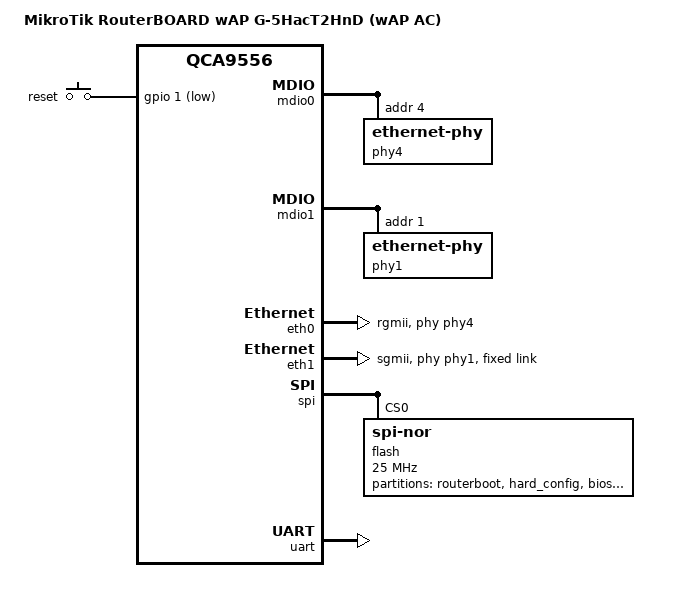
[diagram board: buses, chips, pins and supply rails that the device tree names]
// SPDX-License-Identifier: GPL-2.0-or-later OR MIT
/dts-v1/;

#include <dt-bindings/gpio/gpio.h>
#include <dt-bindings/input/input.h>

#include "qca9557.dtsi"

/ {
	compatible = "mikrotik,rb-wapg-5hact2hnd", "qca,qca9556";
	model = "MikroTik RouterBOARD wAP G-5HacT2HnD (wAP AC)";

	aliases {
		serial0 = &uart;
	};

	chosen {
		bootargs = "console=ttyS0,115200n8";
	};

	leds {
		compatible = "gpio-leds";
		pinctrl-names = "default";
	};

	keys {
		compatible = "gpio-keys";

		reset {
			label = "reset";
			linux,code = <KEY_RESTART>;
			gpios = <&gpio 1 GPIO_ACTIVE_LOW>;
			debounce-interval = <60>;
		};
	};
};





&mdio0 {
	status = "okay";

	phy4: ethernet-phy@4 {
		reg = <4>;
		phy-mode = "rgmii-id";
	};
};

&mdio1 {
	status = "okay";

	phy1: ethernet-phy@1 {
		reg = <1>;
		phy-mode = "sgmii";
	};
};

&eth0 {
	status = "okay";

	phy-handle = <&phy4>;
	phy-mode = "rgmii";
};

&eth1 {
	status = "okay";

	pll-data = <0x03000101 0x80000101 0x80001313>;

	phy-handle = <&phy1>;
	phy-mode = "sgmii";
	
	fixed-link {
		speed = <1000>;
		full-duplex;
	};
};








&spi {
	status = "okay";
	num-cs = <1>;

	flash@0 {
		compatible = "jedec,spi-nor";
		reg = <0>;
		spi-max-frequency = <25000000>;

		partitions {
			compatible = "fixed-partitions";
			#address-cells = <1>;
			#size-cells = <1>;

			partition@0 {
				label = "routerboot";
				reg = <0x000000 0x00e000>;
				read-only;
			};

			partition@e000 {
				hard_config: label = "hard_config";
				reg = <0x000e000 0x00f000>;
				read-only;
			};

			partition@f000 {
				label = "bios";
				reg = <0x000f000 0x010000>;
				read-only;
			};

			partition@10000 {
				label = "routerboot2";
				reg = <0x010000 0x01f000>;
				read-only;
			};

			partition@1f000 {
				label = "soft_config";
				reg = <0x001f000 0x020000>;
				read-only;
			};

			partition@20000 {
				compatible = "denx,uimage";
				label = "firmware";
				reg = <0x020000 0x1000000>;
			};
		};
	};
};

&uart {
	status = "okay";
};
